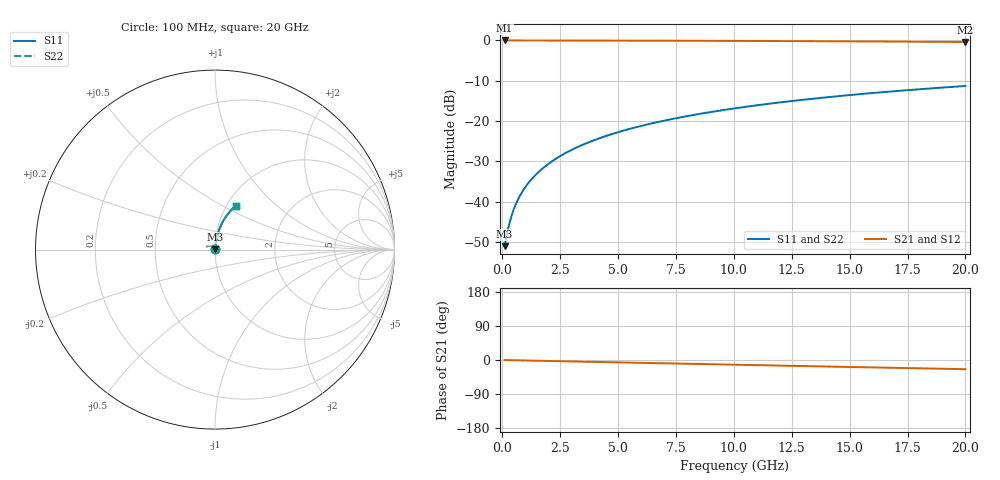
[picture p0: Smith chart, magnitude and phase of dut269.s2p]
! Touchstone file exported from HFSS 2026.1.0
!  File:  C:/ffzhzh/LocalFiles/Ansys_Project_Files/temp_train_BSMRDL_269_1782988909_45328.aedt
!  Generated:  06:43:03 PM Jul  2, 2026
!  Design:  BSMRDL
!  Project:  temp_train_BSMRDL_269_1782988909_45328
! Variables:
!  h_bsmrdl = 2.11um
!  h_ox = 20um
!  h_rdl = 5um
!  h_sub = 80um
!  h_tmrdl = 5um
!  h_tsv = 80um
!  h_via = 3um
!  l_bsmrdl = 277.44um
!  l_sub = 677.44um
!  l_tmrdl = 200um
!  m_sub = 200um
!  pitch = 59.37um
!  r_tsv = 6um
!  s_tmrdl = 10um
!  w_bsmrdl = 24.29um
!  w_sub = 500um
!  w_tmrdl = 12um
!  x_tsv_center1 = 206um
!  x_tsv_center2 = 507.73um
!  x_tsv_center3 = 719.73um
!  x_tsv_center4 = 1021.46um
!  x_tsv_center5 = 1233.46um
!  x_tsv_center6 = 1535.19um
# GHz S MA R 50.000000
! Terminal data exported
! Port[1] = BSM_RDL1_1_T1
! Port[2] = BSM_RDL1_1_T2
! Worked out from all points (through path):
!   200 points, 100 MHz to 20 GHz, reference 50 ohm
!   highest |S21| = -0.02 dB at 100 MHz (marker M1); lowest = -0.4 dB at 20 GHz (marker M2)
!   group delay of S21, straight-line fit = 3.37 ps
!   lowest |S11| = -51.0 dB at 100 MHz (marker M3), VSWR 1.01, Z = 50.2 + j0.158 ohm
!   |S11| at or under -10 dB: start of sweep to end of sweep
!   |S22| runs from -51.0 to -11.3 dB; largest |S21 - S12| = 3e-15
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0.1  0.002805 34.0  0.9977 -0.1  0.9977 -0.1  0.002805 34.0
! Gamma 0 0 0 0
! Port Impedance 50 0 50 0
0.2  0.003928 52.7  0.9976 -0.3  0.9976 -0.3  0.003928 52.7
0.3  0.005268 62.1  0.9976 -0.4  0.9976 -0.4  0.005268 62.1
0.4  0.006676 67.4  0.9975 -0.5  0.9975 -0.5  0.006676 67.4
0.5  0.008102 70.7  0.9974 -0.6  0.9974 -0.6  0.008102 70.7
0.6  0.00953 73.0  0.9973 -0.8  0.9973 -0.8  0.00953 73.0
0.8  0.01238 76.0  0.9972 -1.0  0.9972 -1.0  0.01238 76.0
1.1  0.01666 78.6  0.997 -1.4  0.997 -1.4  0.01666 78.6
1.5  0.02238 80.4  0.9968 -1.9  0.9968 -1.9  0.02238 80.4
1.8  0.02668 81.2  0.9966 -2.3  0.9966 -2.3  0.02668 81.2
2.1  0.03099 81.6  0.9965 -2.6  0.9965 -2.6  0.03099 81.6
2.7  0.03963 82.0  0.9961 -3.4  0.9961 -3.4  0.03963 82.0
3.5  0.05116 82.0  0.9955 -4.4  0.9955 -4.4  0.05116 82.0
4.2  0.06124 81.6  0.9948 -5.3  0.9948 -5.3  0.06124 81.6
5  0.07272 81.1  0.994 -6.3  0.994 -6.3  0.07272 81.1
5.9  0.08557 80.3  0.9928 -7.4  0.9928 -7.4  0.08557 80.3
6.8  0.09836 79.4  0.9915 -8.5  0.9915 -8.5  0.09835 79.4
8.3  0.1195 77.8  0.989 -10.3  0.989 -10.3  0.1195 77.8
10.1  0.1444 75.8  0.9853 -12.5  0.9853 -12.5  0.1444 75.8
13.4  0.1889 72.0  0.9772 -16.5  0.9772 -16.5  0.1889 72.0
16.7  0.2314 68.3  0.9675 -20.4  0.9675 -20.4  0.2314 68.3
20  0.2717 64.5  0.9565 -24.2  0.9565 -24.2  0.2717 64.6
